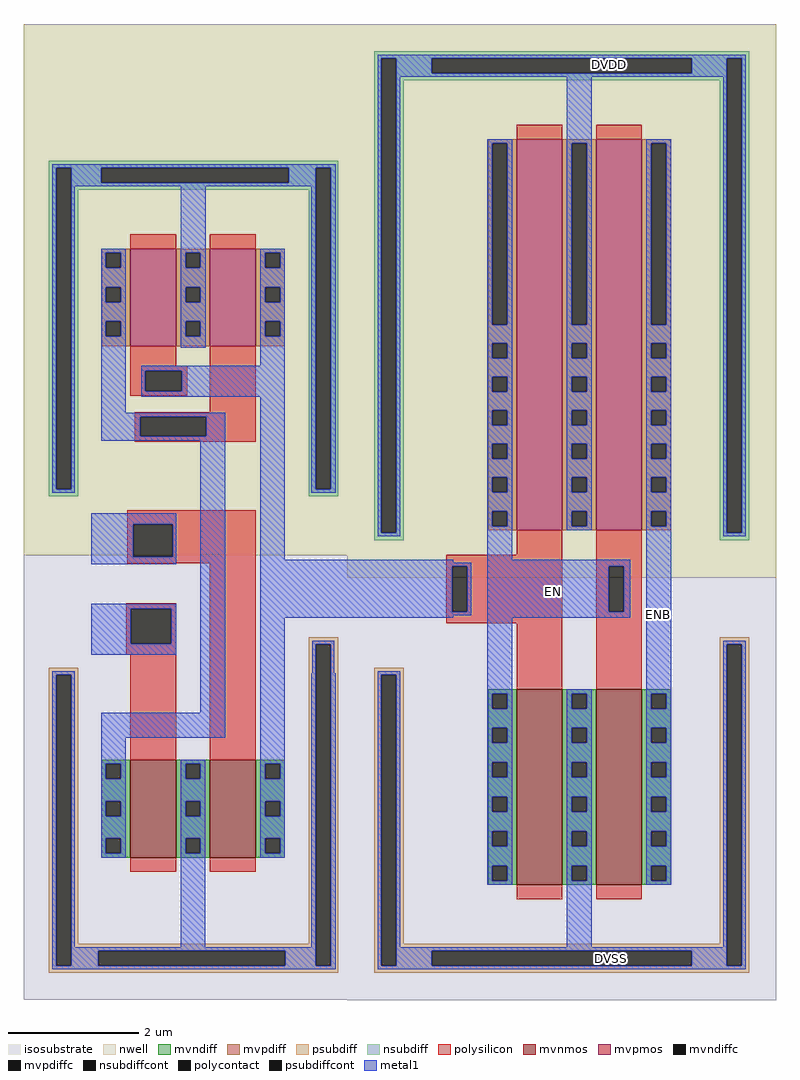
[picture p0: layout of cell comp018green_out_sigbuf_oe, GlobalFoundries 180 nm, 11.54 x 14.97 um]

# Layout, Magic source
magic
tech gf180mcuD
magscale 1 10
<< isosubstrate >>
rect 487 -82 2795 2911
rect 1479 -83 2795 -82
<< nwell >>
rect 487 2575 2795 2911
rect 1479 1213 2795 2575
<< mvnmos >>
rect 1999 270 2139 870
rect 2243 270 2383 870
<< mvpmos >>
rect 1999 1358 2139 2558
rect 2243 1358 2383 2558
<< mvndiff >>
rect 1911 857 1999 870
rect 1911 811 1924 857
rect 1970 811 1999 857
rect 1911 752 1999 811
rect 1911 706 1924 752
rect 1970 706 1999 752
rect 1911 647 1999 706
rect 1911 601 1924 647
rect 1970 601 1999 647
rect 1911 541 1999 601
rect 1911 495 1924 541
rect 1970 495 1999 541
rect 1911 435 1999 495
rect 1911 389 1924 435
rect 1970 389 1999 435
rect 1911 329 1999 389
rect 1911 283 1924 329
rect 1970 283 1999 329
rect 1911 270 1999 283
rect 2139 857 2243 870
rect 2139 811 2168 857
rect 2214 811 2243 857
rect 2139 752 2243 811
rect 2139 706 2168 752
rect 2214 706 2243 752
rect 2139 647 2243 706
rect 2139 601 2168 647
rect 2214 601 2243 647
rect 2139 541 2243 601
rect 2139 495 2168 541
rect 2214 495 2243 541
rect 2139 435 2243 495
rect 2139 389 2168 435
rect 2214 389 2243 435
rect 2139 329 2243 389
rect 2139 283 2168 329
rect 2214 283 2243 329
rect 2139 270 2243 283
rect 2383 857 2471 870
rect 2383 811 2412 857
rect 2458 811 2471 857
rect 2383 752 2471 811
rect 2383 706 2412 752
rect 2458 706 2471 752
rect 2383 647 2471 706
rect 2383 601 2412 647
rect 2458 601 2471 647
rect 2383 541 2471 601
rect 2383 495 2412 541
rect 2458 495 2471 541
rect 2383 435 2471 495
rect 2383 389 2412 435
rect 2458 389 2471 435
rect 2383 329 2471 389
rect 2383 283 2412 329
rect 2458 283 2471 329
rect 2383 270 2471 283
<< mvpdiff >>
rect 1911 2545 1999 2558
rect 1911 1989 1924 2545
rect 1970 1989 1999 2545
rect 1911 1932 1999 1989
rect 1911 1886 1924 1932
rect 1970 1886 1999 1932
rect 1911 1829 1999 1886
rect 1911 1783 1924 1829
rect 1970 1783 1999 1829
rect 1911 1726 1999 1783
rect 1911 1680 1924 1726
rect 1970 1680 1999 1726
rect 1911 1623 1999 1680
rect 1911 1577 1924 1623
rect 1970 1577 1999 1623
rect 1911 1520 1999 1577
rect 1911 1474 1924 1520
rect 1970 1474 1999 1520
rect 1911 1417 1999 1474
rect 1911 1371 1924 1417
rect 1970 1371 1999 1417
rect 1911 1358 1999 1371
rect 2139 2545 2243 2558
rect 2139 1989 2168 2545
rect 2214 1989 2243 2545
rect 2139 1932 2243 1989
rect 2139 1886 2168 1932
rect 2214 1886 2243 1932
rect 2139 1829 2243 1886
rect 2139 1783 2168 1829
rect 2214 1783 2243 1829
rect 2139 1726 2243 1783
rect 2139 1680 2168 1726
rect 2214 1680 2243 1726
rect 2139 1623 2243 1680
rect 2139 1577 2168 1623
rect 2214 1577 2243 1623
rect 2139 1520 2243 1577
rect 2139 1474 2168 1520
rect 2214 1474 2243 1520
rect 2139 1417 2243 1474
rect 2139 1371 2168 1417
rect 2214 1371 2243 1417
rect 2139 1358 2243 1371
rect 2383 2545 2471 2558
rect 2383 1989 2412 2545
rect 2458 1989 2471 2545
rect 2383 1932 2471 1989
rect 2383 1886 2412 1932
rect 2458 1886 2471 1932
rect 2383 1829 2471 1886
rect 2383 1783 2412 1829
rect 2458 1783 2471 1829
rect 2383 1726 2471 1783
rect 2383 1680 2412 1726
rect 2458 1680 2471 1726
rect 2383 1623 2471 1680
rect 2383 1577 2412 1623
rect 2458 1577 2471 1623
rect 2383 1520 2471 1577
rect 2383 1474 2412 1520
rect 2458 1474 2471 1520
rect 2383 1417 2471 1474
rect 2383 1371 2412 1417
rect 2458 1371 2471 1417
rect 2383 1358 2471 1371
<< mvndiffc >>
rect 1924 811 1970 857
rect 1924 706 1970 752
rect 1924 601 1970 647
rect 1924 495 1970 541
rect 1924 389 1970 435
rect 1924 283 1970 329
rect 2168 811 2214 857
rect 2168 706 2214 752
rect 2168 601 2214 647
rect 2168 495 2214 541
rect 2168 389 2214 435
rect 2168 283 2214 329
rect 2412 811 2458 857
rect 2412 706 2458 752
rect 2412 601 2458 647
rect 2412 495 2458 541
rect 2412 389 2458 435
rect 2412 283 2458 329
<< mvpdiffc >>
rect 1924 1989 1970 2545
rect 1924 1886 1970 1932
rect 1924 1783 1970 1829
rect 1924 1680 1970 1726
rect 1924 1577 1970 1623
rect 1924 1474 1970 1520
rect 1924 1371 1970 1417
rect 2168 1989 2214 2545
rect 2168 1886 2214 1932
rect 2168 1783 2214 1829
rect 2168 1680 2214 1726
rect 2168 1577 2214 1623
rect 2168 1474 2214 1520
rect 2168 1371 2214 1417
rect 2412 1989 2458 2545
rect 2412 1886 2458 1932
rect 2412 1783 2458 1829
rect 2412 1680 2458 1726
rect 2412 1577 2458 1623
rect 2412 1474 2458 1520
rect 2412 1371 2458 1417
<< psubdiff >>
rect 1562 914 1652 936
rect 1562 22 1584 914
rect 1630 90 1652 914
rect 2622 1008 2712 1030
rect 2622 90 2644 1008
rect 1630 68 2644 90
rect 1630 22 1738 68
rect 2536 22 2644 68
rect 2690 22 2712 1008
rect 1562 0 2712 22
<< nsubdiff >>
rect 1562 2806 2712 2828
rect 1562 1350 1584 2806
rect 1630 2760 1738 2806
rect 2536 2760 2644 2806
rect 1630 2738 2644 2760
rect 1630 1350 1652 2738
rect 1562 1328 1652 1350
rect 2622 1350 2644 2738
rect 2690 1350 2712 2806
rect 2622 1328 2712 1350
<< psubdiffcont >>
rect 1584 22 1630 914
rect 1738 22 2536 68
rect 2644 22 2690 1008
<< nsubdiffcont >>
rect 1584 1350 1630 2806
rect 1738 2760 2536 2806
rect 2644 1350 2690 2806
<< polysilicon >>
rect 1999 2558 2139 2602
rect 2243 2558 2383 2602
rect 1999 1283 2139 1358
rect 1783 1248 2139 1283
rect 1783 1108 1802 1248
rect 1848 1108 2139 1248
rect 1783 1072 2139 1108
rect 1999 870 2139 1072
rect 2243 1248 2383 1358
rect 2243 1108 2282 1248
rect 2328 1108 2383 1248
rect 2243 870 2383 1108
rect 1999 226 2139 270
rect 2243 226 2383 270
<< polycontact >>
rect 1802 1108 1848 1248
rect 2282 1108 2328 1248
<< metal1 >>
rect 1573 2806 2701 2817
rect 1573 1350 1584 2806
rect 1630 2760 1738 2806
rect 2536 2760 2644 2806
rect 1630 2749 2644 2760
rect 1630 1350 1641 2749
rect 1573 1339 1641 1350
rect 1909 2545 1985 2558
rect 1909 1989 1924 2545
rect 1970 1989 1985 2545
rect 1909 1932 1985 1989
rect 1909 1886 1924 1932
rect 1970 1886 1985 1932
rect 1909 1829 1985 1886
rect 1909 1783 1924 1829
rect 1970 1783 1985 1829
rect 1909 1726 1985 1783
rect 1909 1680 1924 1726
rect 1970 1680 1985 1726
rect 1909 1623 1985 1680
rect 1909 1577 1924 1623
rect 1970 1577 1985 1623
rect 1909 1520 1985 1577
rect 1909 1474 1924 1520
rect 1970 1474 1985 1520
rect 1909 1417 1985 1474
rect 1909 1371 1924 1417
rect 1970 1371 1985 1417
rect 1909 1267 1985 1371
rect 2153 2545 2229 2749
rect 2153 1989 2168 2545
rect 2214 1989 2229 2545
rect 2153 1932 2229 1989
rect 2153 1886 2168 1932
rect 2214 1886 2229 1932
rect 2153 1829 2229 1886
rect 2153 1783 2168 1829
rect 2214 1783 2229 1829
rect 2153 1726 2229 1783
rect 2153 1680 2168 1726
rect 2214 1680 2229 1726
rect 2153 1623 2229 1680
rect 2153 1577 2168 1623
rect 2214 1577 2229 1623
rect 2153 1520 2229 1577
rect 2153 1474 2168 1520
rect 2214 1474 2229 1520
rect 2153 1417 2229 1474
rect 2153 1371 2168 1417
rect 2214 1371 2229 1417
rect 2153 1358 2229 1371
rect 2397 2545 2473 2558
rect 2397 1989 2412 2545
rect 2458 1989 2473 2545
rect 2397 1932 2473 1989
rect 2397 1886 2412 1932
rect 2458 1886 2473 1932
rect 2397 1829 2473 1886
rect 2397 1783 2412 1829
rect 2458 1783 2473 1829
rect 2397 1726 2473 1783
rect 2397 1680 2412 1726
rect 2458 1680 2473 1726
rect 2397 1623 2473 1680
rect 2397 1577 2412 1623
rect 2458 1577 2473 1623
rect 2397 1520 2473 1577
rect 2397 1474 2412 1520
rect 2458 1474 2473 1520
rect 2397 1417 2473 1474
rect 2397 1371 2412 1417
rect 2458 1371 2473 1417
rect 1265 1259 1804 1267
rect 1265 1248 1859 1259
rect 1265 1108 1802 1248
rect 1848 1108 1859 1248
rect 1265 1097 1859 1108
rect 1909 1248 2347 1267
rect 1909 1108 2282 1248
rect 2328 1108 2347 1248
rect 1265 1089 1804 1097
rect 1909 1089 2347 1108
rect 1573 914 1641 925
rect 1573 22 1584 914
rect 1630 79 1641 914
rect 1909 857 1985 1089
rect 1909 811 1924 857
rect 1970 811 1985 857
rect 1909 752 1985 811
rect 1909 706 1924 752
rect 1970 706 1985 752
rect 1909 647 1985 706
rect 1909 601 1924 647
rect 1970 601 1985 647
rect 1909 541 1985 601
rect 1909 495 1924 541
rect 1970 495 1985 541
rect 1909 435 1985 495
rect 1909 389 1924 435
rect 1970 389 1985 435
rect 1909 329 1985 389
rect 1909 283 1924 329
rect 1970 283 1985 329
rect 1909 270 1985 283
rect 2153 857 2229 870
rect 2153 811 2168 857
rect 2214 811 2229 857
rect 2153 752 2229 811
rect 2153 706 2168 752
rect 2214 706 2229 752
rect 2153 647 2229 706
rect 2153 601 2168 647
rect 2214 601 2229 647
rect 2153 541 2229 601
rect 2153 495 2168 541
rect 2214 495 2229 541
rect 2153 435 2229 495
rect 2153 389 2168 435
rect 2214 389 2229 435
rect 2153 329 2229 389
rect 2153 283 2168 329
rect 2214 283 2229 329
rect 2153 79 2229 283
rect 2397 857 2473 1371
rect 2633 1350 2644 2749
rect 2690 1350 2701 2806
rect 2633 1339 2701 1350
rect 2397 811 2412 857
rect 2458 811 2473 857
rect 2397 752 2473 811
rect 2397 706 2412 752
rect 2458 706 2473 752
rect 2397 647 2473 706
rect 2397 601 2412 647
rect 2458 601 2473 647
rect 2397 541 2473 601
rect 2397 495 2412 541
rect 2458 495 2473 541
rect 2397 435 2473 495
rect 2397 389 2412 435
rect 2458 389 2473 435
rect 2397 329 2473 389
rect 2397 283 2412 329
rect 2458 283 2473 329
rect 2397 270 2473 283
rect 2633 1008 2701 1019
rect 2633 79 2644 1008
rect 1630 68 2644 79
rect 1630 22 1738 68
rect 2536 22 2644 68
rect 2690 22 2701 1008
rect 1573 11 2701 22
use lvlshift_up  lvlshift_up_0
transform 1 0 -17700 0 1 -53410
box 18187 53410 19183 55985
<< labels >>
rlabel metal1 s 2435 1100 2435 1100 4 ENB
port 3 nsew
rlabel metal1 s 2283 2788 2283 2788 4 DVDD
port 6 nsew
rlabel metal1 s 2290 45 2290 45 4 DVSS
port 7 nsew
rlabel metal1 s 2112 1170 2112 1170 4 EN
port 8 nsew
<< end >>

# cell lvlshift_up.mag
magic
tech gf180mcuD
magscale 1 10
<< nwell >>
rect 18187 54691 19183 55985
<< mvnmos >>
rect 18514 53764 18654 54064
rect 18758 53764 18898 54064
<< mvpmos >>
rect 18514 55332 18654 55632
rect 18758 55332 18898 55632
<< mvndiff >>
rect 18426 54051 18514 54064
rect 18426 54005 18439 54051
rect 18485 54005 18514 54051
rect 18426 53937 18514 54005
rect 18426 53891 18439 53937
rect 18485 53891 18514 53937
rect 18426 53823 18514 53891
rect 18426 53777 18439 53823
rect 18485 53777 18514 53823
rect 18426 53764 18514 53777
rect 18654 54051 18758 54064
rect 18654 54005 18683 54051
rect 18729 54005 18758 54051
rect 18654 53937 18758 54005
rect 18654 53891 18683 53937
rect 18729 53891 18758 53937
rect 18654 53823 18758 53891
rect 18654 53777 18683 53823
rect 18729 53777 18758 53823
rect 18654 53764 18758 53777
rect 18898 54051 18988 54064
rect 18898 54005 18927 54051
rect 18973 54005 18988 54051
rect 18898 53937 18988 54005
rect 18898 53891 18927 53937
rect 18973 53891 18988 53937
rect 18898 53823 18988 53891
rect 18898 53777 18927 53823
rect 18973 53777 18988 53823
rect 18898 53764 18988 53777
<< mvpdiff >>
rect 18426 55619 18514 55632
rect 18426 55573 18439 55619
rect 18485 55573 18514 55619
rect 18426 55514 18514 55573
rect 18426 55468 18439 55514
rect 18485 55468 18514 55514
rect 18426 55409 18514 55468
rect 18426 55363 18439 55409
rect 18485 55363 18514 55409
rect 18426 55332 18514 55363
rect 18654 55619 18758 55632
rect 18654 55573 18683 55619
rect 18729 55573 18758 55619
rect 18654 55514 18758 55573
rect 18654 55468 18683 55514
rect 18729 55468 18758 55514
rect 18654 55409 18758 55468
rect 18654 55363 18683 55409
rect 18729 55363 18758 55409
rect 18654 55332 18758 55363
rect 18898 55619 18988 55632
rect 18898 55573 18927 55619
rect 18973 55573 18988 55619
rect 18898 55514 18988 55573
rect 18898 55468 18927 55514
rect 18973 55468 18988 55514
rect 18898 55409 18988 55468
rect 18898 55363 18927 55409
rect 18973 55363 18988 55409
rect 18898 55332 18988 55363
<< mvndiffc >>
rect 18439 54005 18485 54051
rect 18439 53891 18485 53937
rect 18439 53777 18485 53823
rect 18683 54005 18729 54051
rect 18683 53891 18729 53937
rect 18683 53777 18729 53823
rect 18927 54005 18973 54051
rect 18927 53891 18973 53937
rect 18927 53777 18973 53823
<< mvpdiffc >>
rect 18439 55573 18485 55619
rect 18439 55468 18485 55514
rect 18439 55363 18485 55409
rect 18683 55573 18729 55619
rect 18683 55468 18729 55514
rect 18683 55363 18729 55409
rect 18927 55573 18973 55619
rect 18927 55468 18973 55514
rect 18927 55363 18973 55409
<< psubdiff >>
rect 18264 54324 18354 54346
rect 18264 53432 18286 54324
rect 18332 53500 18354 54324
rect 19061 54418 19151 54440
rect 19061 53500 19083 54418
rect 18332 53478 19083 53500
rect 18332 53432 18416 53478
rect 18989 53432 19083 53478
rect 19129 53432 19151 54418
rect 18264 53410 19151 53432
<< nsubdiff >>
rect 18264 55880 19151 55902
rect 18264 54894 18286 55880
rect 18332 55834 18425 55880
rect 19000 55834 19083 55880
rect 18332 55812 19083 55834
rect 18332 54894 18354 55812
rect 18264 54872 18354 54894
rect 19061 54894 19083 55812
rect 19129 54894 19151 55880
rect 19061 54872 19151 54894
<< psubdiffcont >>
rect 18286 53432 18332 54324
rect 18416 53432 18989 53478
rect 19083 53432 19129 54418
<< nsubdiffcont >>
rect 18286 54894 18332 55880
rect 18425 55834 19000 55880
rect 19083 54894 19129 55880
<< polysilicon >>
rect 18514 55632 18654 55676
rect 18758 55632 18898 55676
rect 18514 55272 18654 55332
rect 18514 55257 18688 55272
rect 18514 55195 18560 55257
rect 18672 55195 18688 55257
rect 18514 55181 18688 55195
rect 18758 55130 18898 55332
rect 18528 55116 18898 55130
rect 18528 55056 18544 55116
rect 18747 55056 18898 55116
rect 18528 55040 18898 55056
rect 18504 54786 18898 54830
rect 18504 54687 18523 54786
rect 18644 54687 18898 54786
rect 18504 54667 18898 54687
rect 18502 54527 18654 54544
rect 18502 54420 18515 54527
rect 18639 54420 18654 54527
rect 18502 54386 18654 54420
rect 18514 54064 18654 54386
rect 18758 54064 18898 54667
rect 18514 53720 18654 53764
rect 18758 53720 18898 53764
<< polycontact >>
rect 18560 55195 18672 55257
rect 18544 55056 18747 55116
rect 18523 54687 18644 54786
rect 18515 54420 18639 54527
<< metal1 >>
rect 18275 55880 19144 55891
rect 18275 54894 18286 55880
rect 18332 55834 18425 55880
rect 19000 55834 19083 55880
rect 18332 55823 19083 55834
rect 18332 54894 18343 55823
rect 18424 55619 18500 55632
rect 18424 55573 18439 55619
rect 18485 55573 18500 55619
rect 18424 55514 18500 55573
rect 18424 55468 18439 55514
rect 18485 55468 18500 55514
rect 18424 55409 18500 55468
rect 18424 55363 18439 55409
rect 18485 55363 18500 55409
rect 18424 55129 18500 55363
rect 18668 55619 18745 55823
rect 18668 55573 18683 55619
rect 18729 55573 18745 55619
rect 18668 55514 18745 55573
rect 18668 55468 18683 55514
rect 18729 55468 18745 55514
rect 18668 55409 18745 55468
rect 18668 55363 18683 55409
rect 18729 55363 18745 55409
rect 18668 55328 18745 55363
rect 18912 55619 18988 55632
rect 18912 55573 18927 55619
rect 18973 55573 18988 55619
rect 18912 55514 18988 55573
rect 18912 55468 18927 55514
rect 18973 55468 18988 55514
rect 18912 55409 18988 55468
rect 18912 55363 18927 55409
rect 18973 55363 18988 55409
rect 18912 55272 18988 55363
rect 18547 55257 18988 55272
rect 18547 55195 18560 55257
rect 18672 55195 18988 55257
rect 18547 55178 18988 55195
rect 18424 55116 18805 55129
rect 18424 55056 18544 55116
rect 18747 55056 18805 55116
rect 18424 55043 18805 55056
rect 18275 54883 18343 54894
rect 18394 54786 18655 54820
rect 18394 54687 18523 54786
rect 18644 54687 18655 54786
rect 18394 54663 18655 54687
rect 18394 54527 18655 54543
rect 18394 54420 18515 54527
rect 18639 54420 18655 54527
rect 18394 54386 18655 54420
rect 18275 54324 18343 54335
rect 18275 53432 18286 54324
rect 18332 53489 18343 54324
rect 18729 54208 18805 55043
rect 18424 54132 18805 54208
rect 18424 54051 18500 54132
rect 18424 54005 18439 54051
rect 18485 54005 18500 54051
rect 18424 53937 18500 54005
rect 18424 53891 18439 53937
rect 18485 53891 18500 53937
rect 18424 53823 18500 53891
rect 18424 53777 18439 53823
rect 18485 53777 18500 53823
rect 18424 53764 18500 53777
rect 18668 54051 18743 54064
rect 18668 54005 18683 54051
rect 18729 54005 18743 54051
rect 18668 53937 18743 54005
rect 18668 53891 18683 53937
rect 18729 53891 18743 53937
rect 18668 53823 18743 53891
rect 18668 53777 18683 53823
rect 18729 53777 18743 53823
rect 18668 53489 18743 53777
rect 18912 54051 18988 55178
rect 19068 54894 19083 55823
rect 19129 54894 19144 55880
rect 19068 54883 19144 54894
rect 19072 54418 19140 54429
rect 19072 54329 19083 54418
rect 18912 54005 18927 54051
rect 18973 54005 18988 54051
rect 18912 53937 18988 54005
rect 18912 53891 18927 53937
rect 18973 53891 18988 53937
rect 18912 53823 18988 53891
rect 18912 53777 18927 53823
rect 18973 53777 18988 53823
rect 18912 53764 18988 53777
rect 19068 53489 19083 54329
rect 18332 53478 19083 53489
rect 18332 53432 18416 53478
rect 18989 53432 19083 53478
rect 19129 54329 19140 54418
rect 19129 53432 19144 54329
rect 18275 53421 19144 53432
<< end >>
